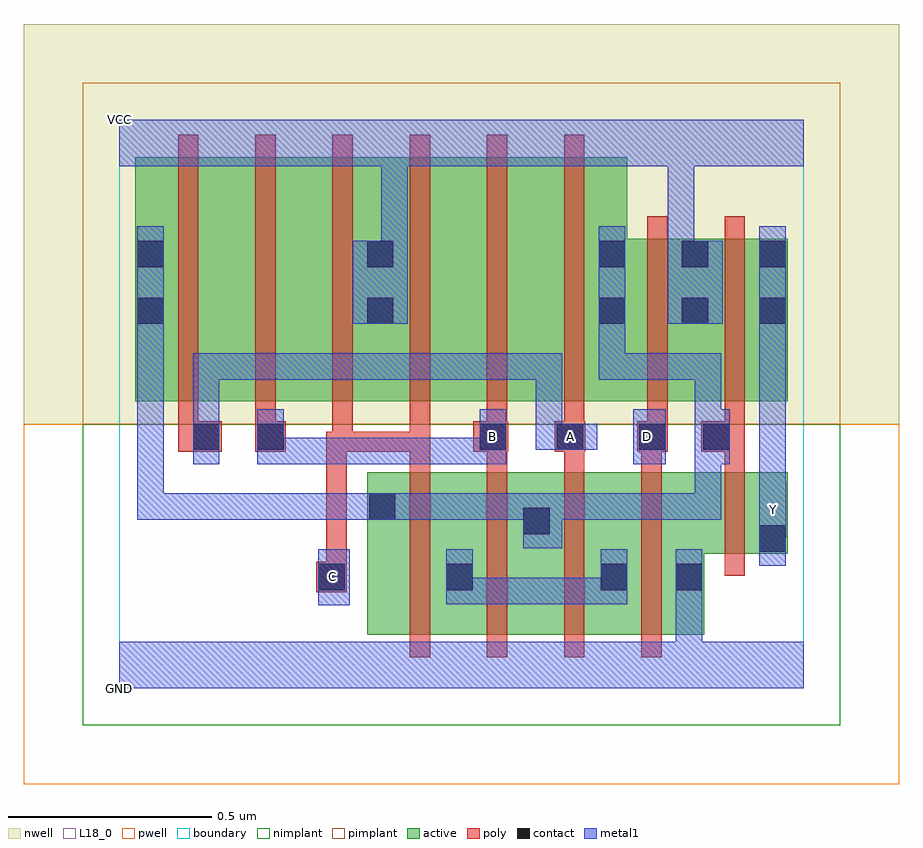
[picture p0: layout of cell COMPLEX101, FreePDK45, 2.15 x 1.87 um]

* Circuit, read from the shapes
.subckt COMPLEX101 A B C D GND VCC Y
M1 n1 C n2 VSUBS nfet w=0.4u l=0.05u
M2 n2 B n1 VSUBS nfet w=0.4u l=0.05u
M3 n1 A n2 VSUBS nfet w=0.4u l=0.05u
M4 GND D n1 VSUBS nfet w=0.4u l=0.05u
M5 Y n2 GND VSUBS nfet w=0.2u l=0.05u
M6 n3 A n2 n4 pfet w=0.6u l=0.05u
M7 n5 B n3 n4 pfet w=0.6u l=0.05u
M8 VCC C n5 n4 pfet w=0.6u l=0.05u
M9 n6 C VCC n4 pfet w=0.6u l=0.05u
M10 n7 B n6 n4 pfet w=0.6u l=0.05u
M11 n2 A n7 n4 pfet w=0.6u l=0.05u
M12 VCC D n2 n4 pfet w=0.4u l=0.05u
M13 Y n2 VCC n4 pfet w=0.4u l=0.05u
.ends

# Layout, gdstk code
import gdstk
lib = gdstk.Library(unit=1e-6, precision=1e-09)
def R(c, l, rs):  # rectangles x0, y0, x1, y1
    for r in rs: c.add(gdstk.rectangle(r[:2], r[2:], *l))
def A(c, l, x, y, w, h, nx, ny, dx, dy):  # array of equal rectangles
    R(c, l, [(x+i*dx, y+j*dy, x+i*dx+w, y+j*dy+h) for i in range(nx) for j in range(ny)])
active = (1, 0)
pwell = (2, 0)
nwell = (3, 0)
nimplant = (4, 0)
pimplant = (5, 0)
poly = (9, 0)
contact = (10, 0)
metal1 = (11, 0)
L18_0 = (18, 0)
boundary = (235, 0)

complex101 = lib.new_cell('COMPLEX101')
A(complex101, active, 0.61, 0.132, 0.265, 0.4, 3, 1, 0.19, 0)
A(complex101, active, 0.8, 0.195, 0.075, 0.297, 3, 1, 0.19, 0)
R(complex101, active, [(1.18,0.132,1.44,0.532), (1.365,0.132,1.44,0.397), (0.61,0.195,0.685,0.532), (1.365,0.332,1.645,0.532), (1.57,0.332,1.645,0.532), (0.04,0.707,0.265,1.307), (0.04,0.707,0.145,1.2), (0.265,0.707,0.455,1.307), (0.455,0.707,0.68,1.307), (0.605,0.707,0.835,1.307), (0.605,0.707,0.68,1.307), (0.835,0.707,1.025,1.307), (1.025,0.707,1.25,1.307), (1.175,0.707,1.455,1.107), (1.175,0.707,1.25,1.2), (1.38,0.707,1.645,1.107), (1.57,0.707,1.645,1.107), (1.38,0.802,1.455,1.107)])
R(complex101, pwell, [(-0.235,-0.235,1.92,0.65)])
R(complex101, nwell, [(-0.235,0.65,1.92,1.635)])
R(complex101, nimplant, [(-0.09,-0.09,1.775,0.65)])
R(complex101, pimplant, [(-0.09,0.65,1.775,1.49)])
A(complex101, poly, 0.715, 0.077, 0.05, 0.51, 4, 1, 0.19, 0)
A(complex101, poly, 0.715, 0.537, 0.05, 0.095, 4, 1, 0.19, 0)
A(complex101, poly, 0.145, 0.652, 0.05, 0.71, 6, 1, 0.19, 0)
R(complex101, poly, [(0.485,0.237,0.56,0.312), (0.51,0.262,0.56,0.312), (0.51,0.262,0.56,0.312), (0.51,0.262,0.56,0.632), (1.49,0.277,1.54,0.587), (1.49,0.537,1.54,0.632), (0.145,0.582,0.252,0.657), (0.335,0.582,0.41,0.657), (0.51,0.582,0.575,0.632), (0.525,0.582,0.575,0.702), (0.525,0.582,0.765,0.632), (0.715,0.582,0.765,0.702), (0.715,0.582,0.765,0.632), (0.715,0.582,0.765,0.632), (0.715,0.582,0.765,0.632), (0.872,0.582,0.957,0.657), (1.072,0.582,1.147,0.657), (1.275,0.582,1.35,0.657), (1.432,0.582,1.54,0.657), (0.145,0.607,0.195,0.702), (0.335,0.607,0.385,0.702), (0.905,0.607,0.955,0.702), (1.095,0.607,1.145,0.702), (1.3,0.607,1.35,0.702), (1.49,0.607,1.54,0.702), (1.3,0.652,1.35,1.162), (1.49,0.652,1.54,1.162)])
R(complex101, contact, [(0.49,0.242,0.555,0.307), (0.805,0.242,0.87,0.307), (1.185,0.242,1.25,0.307), (1.37,0.242,1.435,0.307), (1.575,0.337,1.64,0.402), (0.995,0.38,1.06,0.445), (0.615,0.415,0.68,0.48), (0.182,0.587,0.247,0.652), (0.34,0.587,0.405,0.652), (0.887,0.587,0.952,0.652), (1.077,0.587,1.142,0.652), (1.28,0.587,1.345,0.652), (1.437,0.587,1.502,0.652), (0.045,0.897,0.11,0.962), (0.61,0.897,0.675,0.962), (1.18,0.897,1.245,0.962), (1.385,0.897,1.45,0.962), (1.575,0.897,1.64,0.962), (0.045,1.037,0.11,1.102), (0.61,1.037,0.675,1.102), (1.18,1.037,1.245,1.102), (1.385,1.037,1.45,1.102), (1.575,1.037,1.64,1.102)])
R(complex101, metal1, [(0,0,1.685,0.115), (1.37,0.05,1.435,0.272), (0.49,0.205,0.567,0.342), (0.805,0.207,0.87,0.342), (0.805,0.207,0.952,0.272), (0.887,0.207,0.952,0.272), (0.887,0.207,1.107,0.272), (1.042,0.207,1.107,0.272), (1.042,0.207,1.107,0.272), (1.042,0.207,1.107,0.272), (1.042,0.207,1.25,0.272), (1.185,0.207,1.25,0.342), (1.37,0.207,1.435,0.272), (1.37,0.207,1.435,0.272), (1.37,0.207,1.435,0.342), (1.575,0.302,1.64,0.437), (0.995,0.345,1.09,0.48), (1.575,0.372,1.64,0.437), (1.575,0.372,1.642,0.507), (0.045,0.415,0.11,0.48), (0.045,0.415,0.11,0.48), (0.045,0.415,0.11,0.48), (0.045,0.415,0.247,0.48), (0.045,0.415,0.11,0.927), (0.182,0.415,0.247,0.48), (0.182,0.415,0.417,0.48), (0.352,0.415,0.417,0.48), (0.352,0.415,0.417,0.48), (0.352,0.415,0.417,0.48), (0.352,0.415,0.555,0.48), (0.49,0.415,0.555,0.48), (0.49,0.415,0.645,0.48), (0.58,0.415,0.715,0.48), (0.65,0.415,0.715,0.48), (0.65,0.415,0.715,0.48), (0.65,0.415,0.852,0.48), (0.787,0.415,0.852,0.48), (0.787,0.415,0.952,0.48), (0.887,0.415,0.952,0.48), (0.887,0.415,1.06,0.48), (1.025,0.415,1.09,0.48), (1.025,0.415,1.09,0.48), (1.025,0.415,1.245,0.48), (1.18,0.415,1.245,0.48), (1.18,0.415,1.245,0.48), (1.18,0.415,1.245,0.48), (1.18,0.415,1.482,0.48), (1.417,0.415,1.482,0.48), (1.417,0.415,1.482,0.617), (1.575,0.442,1.64,0.927), (0.182,0.552,0.247,0.687), (0.34,0.552,0.405,0.617), (0.34,0.552,0.405,0.617), (0.34,0.552,0.405,0.687), (0.34,0.552,0.555,0.617), (0.49,0.552,0.555,0.617), (0.49,0.552,0.715,0.617), (0.65,0.552,0.715,0.617), (0.65,0.552,0.815,0.617), (0.75,0.552,0.815,0.617), (0.75,0.552,0.852,0.617), (0.787,0.552,0.852,0.617), (0.787,0.552,0.952,0.617), (0.887,0.552,0.952,0.687), (1.265,0.552,1.345,0.687), (1.417,0.552,1.482,0.825), (1.417,0.552,1.502,0.617), (1.437,0.552,1.502,0.617), (1.437,0.552,1.502,0.687), (1.025,0.587,1.09,0.825), (1.025,0.587,1.107,0.652), (1.042,0.587,1.107,0.652), (1.042,0.587,1.177,0.652), (0.182,0.622,0.247,0.687), (0.182,0.622,0.247,0.687), (0.182,0.622,0.247,0.825), (0.182,0.76,0.247,0.825), (0.182,0.76,0.417,0.825), (0.352,0.76,0.417,0.825), (0.352,0.76,0.417,0.825), (0.352,0.76,0.417,0.825), (0.352,0.76,0.555,0.825), (0.49,0.76,0.555,0.825), (0.49,0.76,0.555,0.825), (0.49,0.76,0.555,0.825), (0.49,0.76,0.815,0.825), (0.75,0.76,0.815,0.825), (0.75,0.76,0.852,0.825), (0.787,0.76,0.852,0.825), (0.787,0.76,0.952,0.825), (0.887,0.76,0.952,0.825), (0.887,0.76,1.09,0.825), (1.025,0.76,1.09,0.825), (1.18,0.76,1.482,0.825), (1.18,0.76,1.245,0.927), (1.417,0.76,1.482,0.825), (0.045,0.862,0.11,1.137), (0.045,0.862,0.11,0.927), (0.045,0.862,0.11,0.927), (1.18,0.862,1.245,1.137), (1.18,0.862,1.245,0.927), (1.575,0.862,1.64,1.137), (0.575,0.897,0.71,1.102), (1.35,0.897,1.485,1.102), (0.645,1.037,0.71,1.35), (1.35,1.037,1.415,1.102), (1.35,1.037,1.415,1.102), (1.35,1.037,1.415,1.35), (0,1.285,1.685,1.4)])
R(complex101, L18_0, [(0,0,1.685,0.115), (1.37,0.05,1.435,0.272), (0.49,0.205,0.567,0.342), (1.37,0.207,1.435,0.342), (1.37,0.207,1.435,0.272), (1.37,0.207,1.435,0.272), (0.492,0.242,0.557,0.307), (1.575,0.302,1.64,0.437), (1.575,0.372,1.64,0.437), (1.575,0.372,1.642,0.507), (1.577,0.407,1.642,0.472), (1.575,0.442,1.64,0.927), (0.182,0.552,0.247,0.687), (0.34,0.552,0.405,0.687), (0.34,0.552,0.405,0.617), (0.34,0.552,0.405,0.617), (0.34,0.552,0.555,0.617), (0.49,0.552,0.555,0.617), (0.49,0.552,0.715,0.617), (0.65,0.552,0.715,0.617), (0.65,0.552,0.815,0.617), (0.75,0.552,0.815,0.617), (0.75,0.552,0.852,0.617), (0.787,0.552,0.852,0.617), (0.787,0.552,0.952,0.617), (0.887,0.552,0.952,0.687), (1.265,0.552,1.345,0.687), (0.887,0.587,0.952,0.652), (1.025,0.587,1.107,0.652), (1.025,0.587,1.09,0.825), (1.042,0.587,1.107,0.652), (1.042,0.587,1.177,0.652), (1.077,0.587,1.142,0.652), (1.267,0.587,1.332,0.652), (0.182,0.622,0.247,0.687), (0.182,0.622,0.247,0.687), (0.182,0.622,0.247,0.825), (0.182,0.76,0.247,0.825), (0.182,0.76,0.417,0.825), (0.352,0.76,0.417,0.825), (0.352,0.76,0.417,0.825), (0.352,0.76,0.417,0.825), (0.352,0.76,0.555,0.825), (0.49,0.76,0.555,0.825), (0.49,0.76,0.555,0.825), (0.49,0.76,0.555,0.825), (0.49,0.76,0.815,0.825), (0.75,0.76,0.815,0.825), (0.75,0.76,0.852,0.825), (0.787,0.76,0.852,0.825), (0.787,0.76,0.952,0.825), (0.887,0.76,0.952,0.825), (0.887,0.76,1.09,0.825), (1.025,0.76,1.09,0.825), (1.575,0.862,1.64,1.137), (0.575,0.897,0.71,1.102), (1.35,0.897,1.485,1.102), (0.645,1.037,0.71,1.35), (1.35,1.037,1.415,1.102), (1.35,1.037,1.415,1.102), (1.35,1.037,1.415,1.35), (0,1.285,1.685,1.4)])
R(complex101, boundary, [(0,0,1.685,1.4)])
complex101.add(gdstk.Label('A', (1.11,0.62), layer=11, texttype=0))
complex101.add(gdstk.Label('B', (0.92,0.62), layer=11, texttype=0))
complex101.add(gdstk.Label('C', (0.525,0.275), layer=11, texttype=0))
complex101.add(gdstk.Label('D', (1.3,0.62), layer=11, texttype=0))
complex101.add(gdstk.Label('Y', (1.61,0.44), layer=11, texttype=0))
complex101.add(gdstk.Label('VCC', (0,1.4), layer=11, texttype=0))
complex101.add(gdstk.Label('GND', (0,0), layer=11, texttype=0))

lib.write_gds('COMPLEX101.gds')
